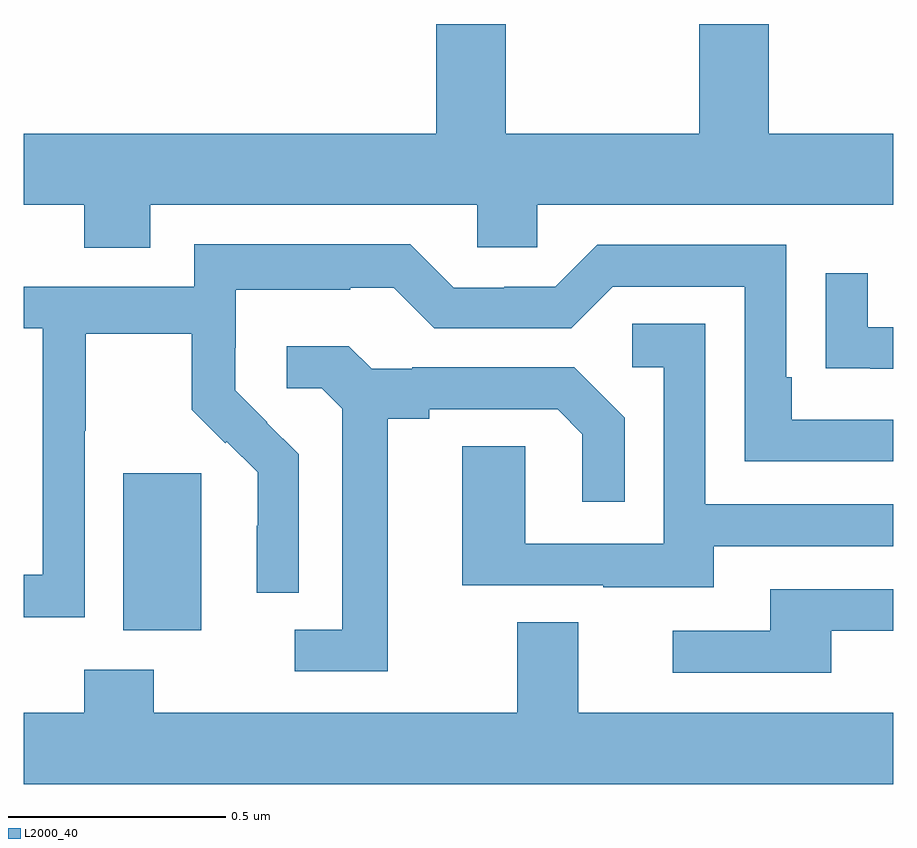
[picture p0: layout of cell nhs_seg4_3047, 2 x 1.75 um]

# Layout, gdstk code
import gdstk
lib = gdstk.Library(unit=1e-6, precision=1e-09)
def R(c, l, rs):  # rectangles x0, y0, x1, y1
    for r in rs: c.add(gdstk.rectangle(r[:2], r[2:], *l))
def P(c, l, *ps):  # polygons
    for p in ps: c.add(gdstk.Polygon(p, *l))
L2000_40 = (2000, 40)

nhs_seg4_3047 = lib.new_cell('nhs_seg4_3047')
R(nhs_seg4_3047, L2000_40, [(148.229,798.506,148.408,798.867)])
P(nhs_seg4_3047, L2000_40, [(148.291,799.484),(149.043,799.484),(149.043,799.386),(149.181,799.386),(149.181,799.484),(150,799.484),(150,799.648),(149.714,799.648),(149.714,799.9),(149.554,799.9),(149.554,799.648),(149.109,799.648),(149.109,799.9),(148.949,799.9),(148.949,799.648),(148,799.648),(148,799.484),(148.139,799.484),(148.139,799.385),(148.291,799.385)],
  [(148.14,798.964),(148.143,798.964),(148.143,799.188),(148.387,799.188),(148.387,799.013),(148.464,798.936),(148.467,798.939),(148.538,798.869),(148.538,798.746),(148.536,798.746),(148.536,798.592),(148.632,798.592),(148.632,798.91),(148.559,798.983),(148.56,798.984),(148.486,799.058),(148.486,799.155),(148.488,799.155),(148.488,799.289),(148.751,799.289),(148.751,799.293),(148.851,799.293),(148.944,799.2),(149.259,799.2),(149.355,799.296),(149.658,799.296),(149.658,798.894),(150,798.894),(150,798.99),(149.767,798.99),(149.767,799.087),(149.754,799.087),(149.754,799.392),(149.319,799.392),(149.223,799.296),(149.105,799.296),(149.105,799.293),(148.989,799.293),(148.889,799.393),(148.392,799.393),(148.392,799.296),(148,799.296),(148,799.2),(148.044,799.2),(148.044,798.633),(148,798.633),(148,798.535),(148.14,798.535)],
  [(150,799.203),(149.941,799.203),(149.941,799.327),(149.845,799.327),(149.845,799.108),(149.947,799.108),(149.947,799.107),(150,799.107)],
  [(149.587,798.699),(150,798.699),(150,798.795),(149.568,798.795),(149.568,799.211),(149.4,799.211),(149.4,799.11),(149.472,799.11),(149.472,798.705),(149.154,798.705),(149.154,798.929),(149.009,798.929),(149.009,798.609),(149.333,798.609),(149.333,798.605),(149.587,798.605)],
  [(148.837,798.992),(148.933,798.992),(148.933,799.014),(149.228,799.014),(149.285,798.957),(149.285,798.801),(149.382,798.801),(149.382,798.994),(149.266,799.11),(148.894,799.11),(148.894,799.107),(148.8,799.107),(148.748,799.159),(148.605,799.159),(148.605,799.062),(148.686,799.062),(148.733,799.015),(148.733,798.507),(148.623,798.507),(148.623,798.411),(148.837,798.411)],
  [(149.857,798.504),(150,798.504),(150,798.6),(149.717,798.6),(149.717,798.504),(149.493,798.504),(149.493,798.408),(149.857,798.408)],
  [(150,798.316),(149.275,798.316),(149.275,798.524),(149.135,798.524),(149.135,798.316),(148.299,798.316),(148.299,798.415),(148.139,798.415),(148.139,798.316),(148,798.316),(148,798.152),(150,798.152)])

lib.write_gds('nhs_seg4_3047.gds')
